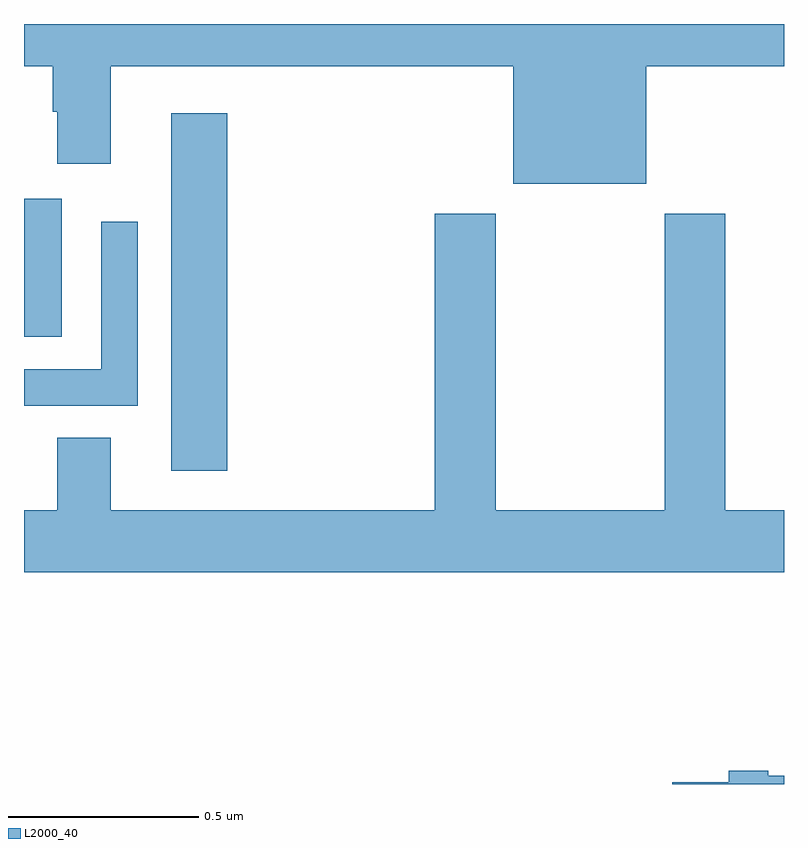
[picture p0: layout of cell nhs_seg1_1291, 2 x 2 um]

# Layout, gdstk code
import gdstk
lib = gdstk.Library(unit=1e-6, precision=1e-09)
def R(c, l, rs):  # rectangles x0, y0, x1, y1
    for r in rs: c.add(gdstk.rectangle(r[:2], r[2:], *l))
def P(c, l, *ps):  # polygons
    for p in ps: c.add(gdstk.Polygon(p, *l))
L2000_40 = (2000, 40)

nhs_seg1_1291 = lib.new_cell('nhs_seg1_1291')
R(nhs_seg1_1291, L2000_40, [(127.388,528.024,127.535,528.964), (127,528.376,127.099,528.739)])
P(nhs_seg1_1291, L2000_40, [(128.638,529.088),(129,529.088),(129,529.199),(127,529.199),(127,529.088),(127.076,529.088),(127.076,528.968),(127.088,528.968),(127.088,528.831),(127.228,528.831),(127.228,529.088),(128.288,529.088),(128.288,528.779),(128.638,528.779)],
  [(129,527.92),(128.846,527.92),(128.846,528.7),(128.686,528.7),(128.686,527.92),(128.241,527.92),(128.241,528.7),(128.081,528.7),(128.081,527.92),(127.228,527.92),(127.228,528.11),(127.088,528.11),(127.088,527.92),(127,527.92),(127,527.756),(129,527.756)],
  [(127.299,528.679),(127.203,528.679),(127.203,528.291),(127,528.291),(127,528.195),(127.299,528.195)],
  [(129,527.221),(128.959,527.221),(128.959,527.234),(128.855,527.234),(128.855,527.204),(128.706,527.204),(128.706,527.199),(129,527.199)])

lib.write_gds('nhs_seg1_1291.gds')
